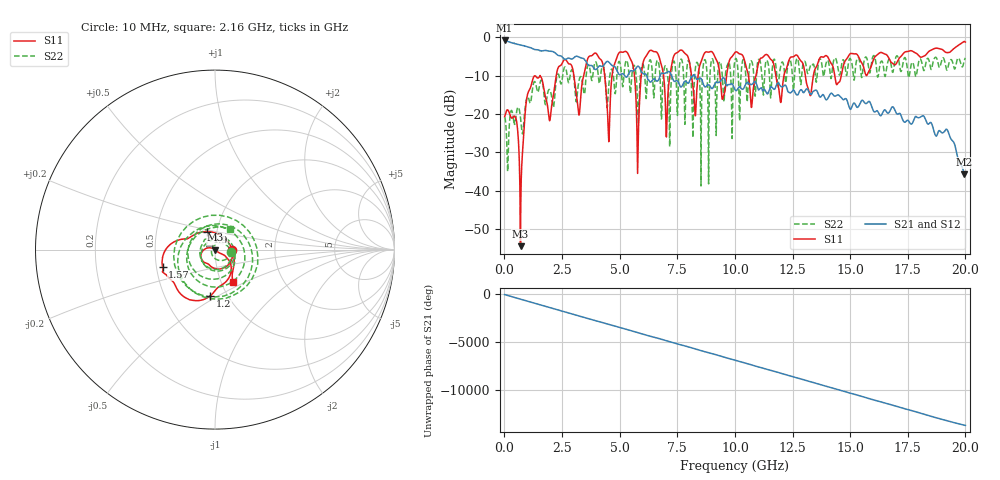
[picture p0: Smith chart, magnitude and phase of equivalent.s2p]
! Generated by SPUtility circuit solver
# GHZ S RI R 50
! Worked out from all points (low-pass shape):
!   2000 points, 10 MHz to 20 GHz, reference 50 ohm
!   highest |S21| = -0.85 dB at 10 MHz (marker M1); lowest = -35.7 dB at 19.96 GHz (marker M2)
!   |S21| within 3 dB of the highest: start of sweep to 2.144 GHz
!   lowest |S11| = -54.4 dB at 700 MHz (marker M3), VSWR 1.00, Z = 50.2 - j0.0807 ohm
!   |S11| at or under -10 dB: start of sweep to 1.548 GHz; 1.552 GHz to 2.25 GHz (697.6 MHz wide, 36.7 % of centre); 3.016 GHz to 3.441 GHz (425.3 MHz wide, 13.2 % of centre)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
!   |S22| runs from -38.7 to -4.8 dB; largest |S21 - S12| = 0
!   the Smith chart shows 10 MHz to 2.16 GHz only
!   S11 on the Smith chart (normalised r, x): 10 MHz: 1.20, -0.01; 1.2 GHz: 0.83, -0.46; 1.57 GHz: 0.54, -0.12; 1.9 GHz: 0.90, +0.18; 2.16 GHz: 1.13, -0.42
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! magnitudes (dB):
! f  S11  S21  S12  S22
! 10 MHz  -20.7  -0.8  -0.8  -20.8
! 700 MHz  -54.4  -2.0  -2.0  -21.0
! 1.2 GHz  -11.7  -2.9  -2.9  -14.4
! 1.57 GHz  -10.2  -3.5  -3.5  -11.4
! 1.9 GHz  -19.1  -3.6  -3.6  -14.0
! 2.16 GHz  -13.8  -3.9  -3.9  -17.0
! 3.35 GHz  -13.0  -5.4  -5.4  -10.6
! 4 GHz  -4.3  -8.3  -8.3  -6.9
! 4.52 GHz  -26.3  -6.4  -6.4  -13.3
! 5.28 GHz  -3.7  -10.4  -10.4  -6.1
! 5.79 GHz  -32.4  -7.5  -7.5  -19.5
! 6.07 GHz  -5.6  -9.6  -9.6  -8.6
! 6.68 GHz  -4.6  -11.2  -11.2  -6.4
! 7.04 GHz  -24.1  -9.2  -9.2  -8.1
! 7.5 GHz  -4.0  -11.3  -11.3  -20.2
! 8.27 GHz  -19.8  -10.1  -10.1  -8.9
! 10.01 GHz  -3.9  -13.7  -13.7  -5.9
! 10.73 GHz  -18.1  -12.3  -12.3  -6.3
! 13.34 GHz  -12.8  -14.7  -14.7  -7.3
! 16.67 GHz  -5.4  -19.7  -19.7  -5.9
! 19.96 GHz  -1.1  -35.7  -35.7  -5.9
! 20 GHz  -1.3  -35.4  -35.4  -5.4
